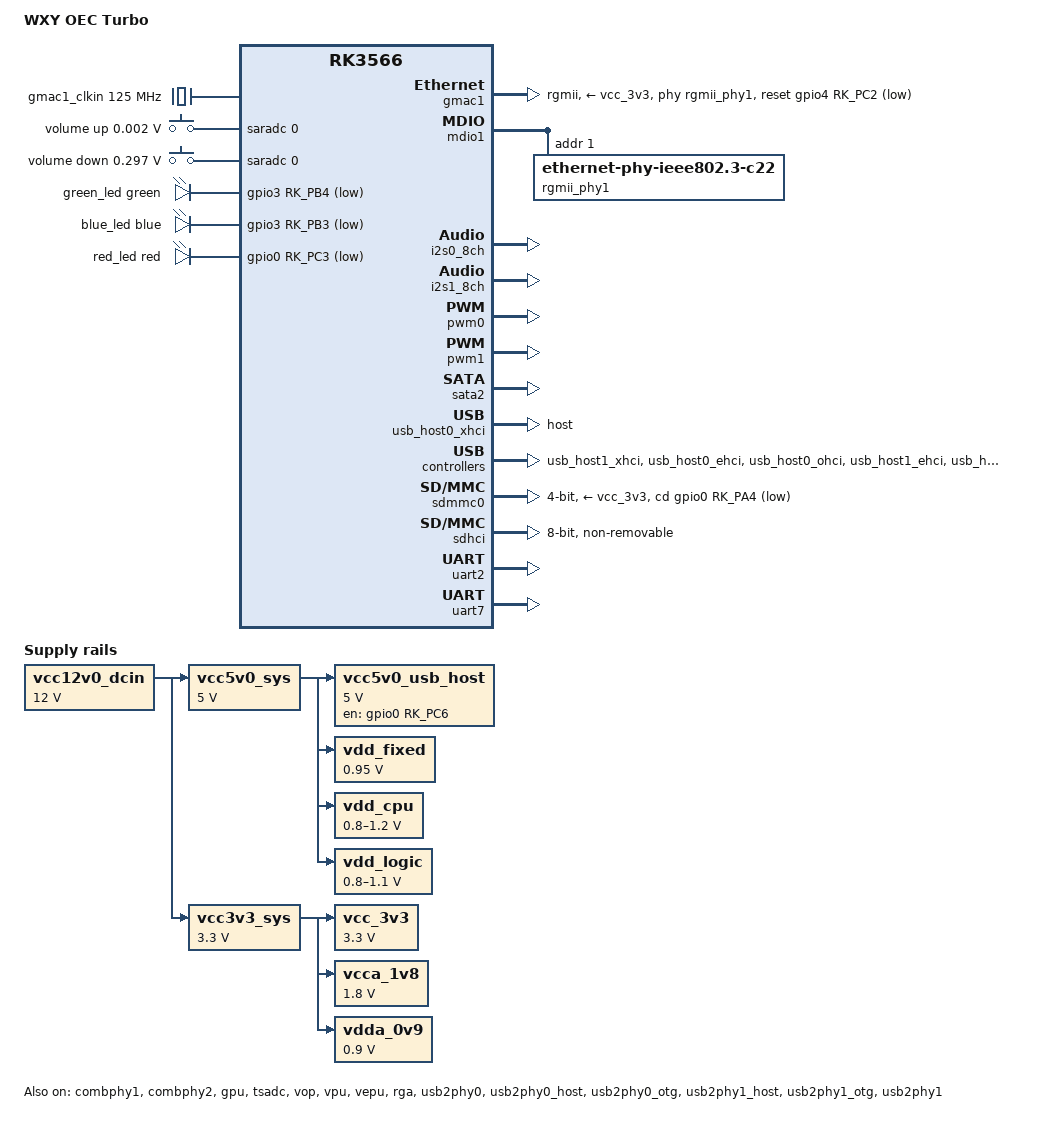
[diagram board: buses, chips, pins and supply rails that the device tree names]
// SPDX-License-Identifier: (GPL-2.0+ OR MIT)

/*
 * Author: Piotr Oniszczuk piotr.oniszczuk@gmail.com
 * Based on Quartz64 DT by: Peter Geis pgwipeout@gmail.com
 */

/dts-v1/;

#include <dt-bindings/gpio/gpio.h>
#include <dt-bindings/input/input.h>
#include <dt-bindings/leds/common.h>
#include <dt-bindings/phy/phy.h>
#include <dt-bindings/pinctrl/rockchip.h>
#include <dt-bindings/soc/rockchip,vop2.h>
#include <dt-bindings/clock/rk3568-cru.h>
#include <dt-bindings/power/rk3568-power.h>
#include "rk3566.dtsi"

/ {
	compatible = "wxy,oec-turbo-4g", "rockchip,rk3566";
	model = "WXY OEC Turbo";

	aliases {
		ethernet0 = &gmac1;
		mmc0 = &sdhci;
		mmc1 = &sdmmc0;
		sata2 = &sata2;
	};

	/delete-node/ display-subsystem;

	chosen: chosen {
		stdout-path = "serial2:1500000n8";
	};

	reserved-memory {
		#address-cells = <2>;
		#size-cells = <2>;
		ranges;
	};

	gmac1_clkin: external-gmac1-clock {
		compatible = "fixed-clock";
		clock-frequency = <125000000>;
		clock-output-names = "gmac1_clkin";
		#clock-cells = <0>;
	};

	adc_keys: adc-keys {
		compatible = "adc-keys";
		io-channels = <&saradc 0>;
		io-channel-names = "buttons";
		keyup-threshold-microvolt = <1800000>;
		poll-interval = <100>;

		vol-up-key {
			label = "volume up";
			linux,code = <KEY_VOLUMEUP>;
			press-threshold-microvolt = <1750>;
		};

		vol-down-key {
			label = "volume down";
			linux,code = <KEY_VOLUMEDOWN>;
			press-threshold-microvolt = <297500>;
		};
	};
	leds {
		compatible = "gpio-leds";
		pinctrl-names = "default";
		pinctrl-0 = <&led_pins>;

		green_led: green-led {
			color = <LED_COLOR_ID_GREEN>;
			gpios = <&gpio3 RK_PB4 GPIO_ACTIVE_LOW>;
			default-state = "on";
			retain-state-suspended;
		};

		blue_led: blue-led {
			color = <LED_COLOR_ID_BLUE>;
			gpios = <&gpio3 RK_PB3 GPIO_ACTIVE_LOW>;
			default-state = "off";
			retain-state-suspended;
		};

		red_led: red-led {
			color = <LED_COLOR_ID_RED>;
			gpios = <&gpio0 RK_PC3 GPIO_ACTIVE_LOW>;
			default-state = "off";
			retain-state-suspended;
		};
	};

	vcc12v0_dcin: regulator-vcc12v0-dcin {
		compatible = "regulator-fixed";
		regulator-name = "vcc12v0_dcin";
		regulator-always-on;
		regulator-boot-on;
		regulator-min-microvolt = <12000000>;
		regulator-max-microvolt = <12000000>;
	};

	vcc5v0_sys: regulator-vcc5v0-sys {
		compatible = "regulator-fixed";
		regulator-name = "vcc5v0_sys";
		regulator-always-on;
		regulator-boot-on;
		regulator-min-microvolt = <5000000>;
		regulator-max-microvolt = <5000000>;
		vin-supply = <&vcc12v0_dcin>;
	};

	vcc3v3_sys: regulator-vcc3v3-sys {
		compatible = "regulator-fixed";
		regulator-name = "vcc3v3_sys";
		regulator-always-on;
		regulator-boot-on;
		regulator-min-microvolt = <3300000>;
		regulator-max-microvolt = <3300000>;
		vin-supply = <&vcc12v0_dcin>;
	};

	vcc_3v3: regulator-vcc-3v3 {
		compatible = "regulator-fixed";
		regulator-name = "vcc_3v3";
		regulator-always-on;
		regulator-boot-on;
		regulator-min-microvolt = <3300000>;
		regulator-max-microvolt = <3300000>;
		vin-supply = <&vcc3v3_sys>;
	};

	vcc5v0_usb_host: regulator-vcc5v0-usb-host {
		compatible = "regulator-fixed";
		regulator-name = "vcc5v0_usb_host";
		regulator-always-on;
		regulator-boot-on;
		regulator-min-microvolt = <5000000>;
		regulator-max-microvolt = <5000000>;
		vin-supply = <&vcc5v0_sys>;
		gpio = <&gpio0 RK_PC6 GPIO_ACTIVE_HIGH>;
		enable-active-high;
		pinctrl-names = "default";
		pinctrl-0 = <&vcc5v0_usb_host_en>;
	};

	vcca_1v8: regulator-vcca-1v8 {
		compatible = "regulator-fixed";
		regulator-name = "vcca_1v8";
		regulator-always-on;
		regulator-boot-on;
		regulator-min-microvolt = <1800000>;
		regulator-max-microvolt = <1800000>;
		vin-supply = <&vcc3v3_sys>;
	};

	vdda_0v9: regulator-vdda-0v9 {
		compatible = "regulator-fixed";
		regulator-name = "vdda_0v9";
		regulator-always-on;
		regulator-boot-on;
		regulator-min-microvolt = <900000>;
		regulator-max-microvolt = <900000>;
		vin-supply = <&vcc3v3_sys>;
	};

	vdd_fixed: regulator-vdd-fixed {
		compatible = "regulator-fixed";
		regulator-name = "vdd_fixed";
		regulator-min-microvolt = <950000>;
		regulator-max-microvolt = <950000>;
		regulator-always-on;
		regulator-boot-on;
		vin-supply = <&vcc5v0_sys>;
	};

	vdd_cpu: regulator-vdd-cpu {
		compatible = "pwm-regulator";
		pwms = <&pwm0 0 5000 1>;
		regulator-name = "vdd_cpu";
		regulator-min-microvolt = <800000>;
		regulator-max-microvolt = <1200000>;
		regulator-always-on;
		regulator-boot-on;
		regulator-settling-time-up-us = <250>;
		pwm-supply = <&vcc5v0_sys>;
	};

	vdd_logic: regulator-vdd-logic {
		compatible = "pwm-regulator";
		pwms = <&pwm1 0 5000 1>;
		regulator-name = "vdd_logic";
		regulator-min-microvolt = <800000>;
		regulator-max-microvolt = <1100000>;
		regulator-always-on;
		regulator-boot-on;
		regulator-settling-time-up-us = <250>;
		pwm-supply = <&vcc5v0_sys>;
	};
	
	vdd_gpu: DCDC_REG2 {
		regulator-name = "vdd_gpu";
		regulator-always-on;
		regulator-boot-on;
		regulator-min-microvolt = <500000>;
		regulator-max-microvolt = <1350000>;
		regulator-ramp-delay = <6001>;
		regulator-initial-mode = <0x2>;

		regulator-state-mem {
			regulator-off-in-suspend;
		};
	};
	
	vdd_npu: DCDC_REG4 {
		regulator-name = "vdd_npu";
		regulator-always-on;
		regulator-boot-on;
		regulator-min-microvolt = <500000>;
		regulator-max-microvolt = <1350000>;
		regulator-ramp-delay = <6001>;
		regulator-initial-mode = <0x2>;

		regulator-state-mem {
			regulator-off-in-suspend;
		};
	};
};

&combphy1 {
	status = "okay";
};

&combphy2 {
	status = "okay";
};

&cpu0 {
	cpu-supply = <&vdd_cpu>;
};

&cpu1 {
	cpu-supply = <&vdd_cpu>;
};

&cpu2 {
	cpu-supply = <&vdd_cpu>;
};

&cpu3 {
	cpu-supply = <&vdd_cpu>;
};

&gmac1 {
	assigned-clocks = <&cru SCLK_GMAC1_RX_TX>, <&cru SCLK_GMAC1>;
	assigned-clock-parents = <&cru SCLK_GMAC1_RGMII_SPEED>, <&gmac1_clkin>;
	phy-mode = "rgmii";
	clock_in_out = "input";
	phy-supply = <&vcc_3v3>;
	pinctrl-names = "default";
	pinctrl-0 = <&gmac1m1_miim
		    &gmac1m1_tx_bus2
		    &gmac1m1_rx_bus2
		    &gmac1m1_rgmii_clk
		    &gmac1m1_rgmii_bus
		    &gmac1m1_clkinout>;
	snps,reset-gpio = <&gpio4 RK_PC2 GPIO_ACTIVE_LOW>;
	snps,reset-active-low;
	/* Reset time is 20ms, 100ms for rtl8211f */
	snps,reset-delays-us = <0 20000 100000>;

	tx_delay = <0x4f>;
	rx_delay = <0x2d>;
	phy-handle = <&rgmii_phy1>;
	status = "okay";
};

&mdio1 {
	rgmii_phy1: ethernet-phy@1 {
		compatible = "ethernet-phy-ieee802.3-c22";
		reg = <0x1>;

		/*
		 * RTL8211F Custom LED Mode B
		 * LED1 (Green):  Link 10/100/1000
		 * LED2 (Yellow): Active 10/100/1000
		 */
		realtek,led-data = <0xc160>;

		/* Optional: Specify specific RTL8211F if needed */
		/* compatible = "realtek,rtl8211f", "ethernet-phy-ieee802.3-c22"; */
	};
};

&gpu {
	mali-supply = <&vdd_logic>;
	status = "okay";
};

&i2s0_8ch {
	status = "okay";
};

&i2s1_8ch {
	rockchip,trcm-sync-tx-only;
	status = "okay";
};

&pinctrl {

	usb {
		vcc5v0_usb_host_en: vcc5v0_usb_host_en {
			rockchip,pins = <0 RK_PC6 RK_FUNC_GPIO &pcfg_pull_none>;
		};

	};

	sata {
		sata_pm_reset: sata-pm-reset {
			rockchip,pins = <0 RK_PA6 RK_FUNC_GPIO &pcfg_output_high>;
		};
	};

	leds {
		led_pins: led-pins {
			rockchip,pins = <3 RK_PB3 RK_FUNC_GPIO &pcfg_pull_none>,
					<3 RK_PB4 RK_FUNC_GPIO &pcfg_pull_none>,
					<0 RK_PC3 RK_FUNC_GPIO &pcfg_pull_none>;
		};
	};
};

&pmu_io_domains {
	pmuio1-supply = <&vcc_3v3>;
	pmuio2-supply = <&vcc_3v3>;
	vccio1-supply = <&vcca_1v8>;
	vccio3-supply = <&vcc_3v3>;
	vccio4-supply = <&vcca_1v8>;
	vccio5-supply = <&vcc_3v3>;
	vccio6-supply = <&vcca_1v8>;
	vccio7-supply = <&vcc_3v3>;
	status = "okay";
};

&pwm0 {
	status = "okay";
};

&pwm1 {
	status = "okay";
};

&pcie2x1 {
	status = "disabled";
};

&sata2 {
	status = "okay";
};

&usb_host0_xhci {
	dr_mode = "host";
	status = "okay";
};

&usb_host1_xhci {
	status = "okay";
};


&usb_host0_ehci {
	status = "okay";
};

&usb_host0_ohci {
	status = "okay";
};

&usb_host1_ehci {
	status = "okay";
};

&usb_host1_ohci {
	status = "okay";
};


&sdmmc0 {
	bus-width = <4>;
	cd-gpios = <&gpio0 RK_PA4 GPIO_ACTIVE_LOW>;
	cap-mmc-highspeed;
	cap-sd-highspeed;
	disable-wp;
	no-sdio;
	no-mmc;
	pinctrl-names = "default";
	pinctrl-0 = <&sdmmc0_bus4 &sdmmc0_clk &sdmmc0_cmd &sdmmc0_det>;
	vmmc-supply = <&vcc_3v3>;
	status = "okay";
};

&sdhci {
	bus-width = <8>;
	max-frequency = <200000000>;
	non-removable;
	status = "okay";
};

&spi1 {
	pinctrl-names = "default";
	pinctrl-0 = <&spi1m1_cs0 &spi1m1_pins>;
};

&tsadc {
	/* tshut mode 0:CRU 1:GPIO */
	rockchip,hw-tshut-mode = <1>;
	/* tshut polarity 0:LOW 1:HIGH */
	rockchip,hw-tshut-polarity = <0>;
	status = "okay";
};

&uart2 {
	status = "okay";
};

&uart5 {
	status = "disabled";
};

&uart7 {
	status = "okay";
};

&vop {
	assigned-clocks = <&cru DCLK_VOP0>, <&cru DCLK_VOP1>;
	assigned-clock-parents = <&pmucru PLL_HPLL>, <&cru PLL_VPLL>;
	status = "okay";
};

&vop_mmu {
	status = "okay";
};

&vpu {
	status = "okay";
};

&vdpu_mmu {
	status = "okay";
};

&vepu {
	status = "okay";
};

&vepu_mmu {
	status = "okay";
};

&rga {
	status = "okay";
};

&usb2phy0 {
	status = "okay";
};

&usb2phy0_host {
	phy-supply = <&vcc5v0_usb_host>;
	status = "okay";
};

&usb2phy0_otg {
	status = "okay";
};

&usb2phy1_host {
	phy-supply = <&vcc5v0_usb_host>;
	status = "okay";
};

&usb2phy1_otg {
	phy-supply = <&vcc5v0_usb_host>;
	status = "okay";
};

&usb2phy1 {
	status = "okay";
};
